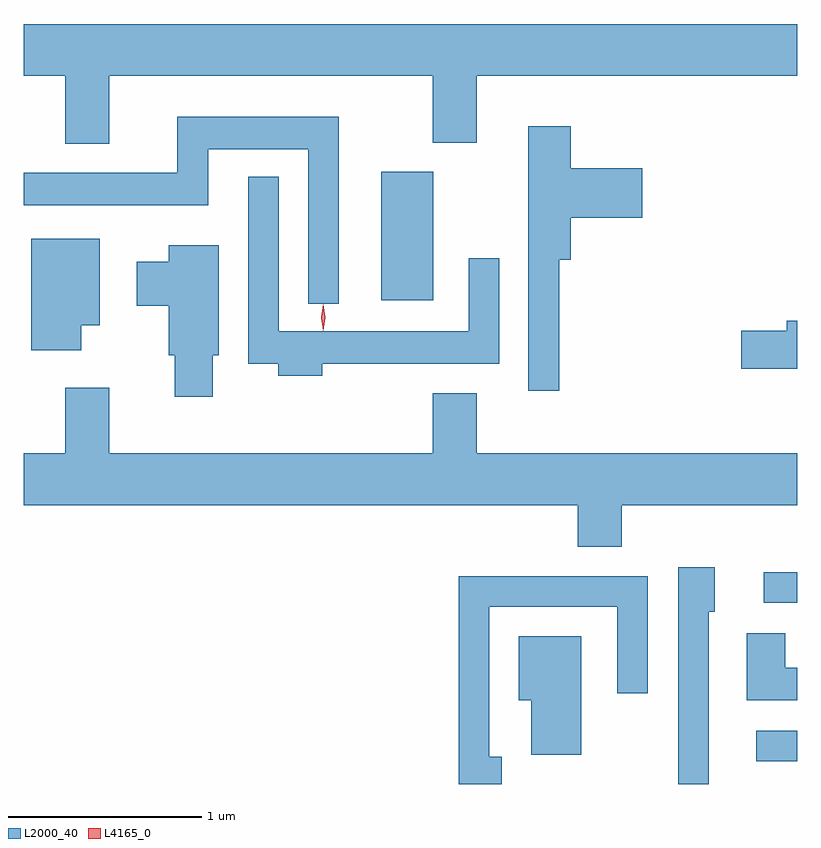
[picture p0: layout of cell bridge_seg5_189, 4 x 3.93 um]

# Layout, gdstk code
import gdstk
lib = gdstk.Library(unit=1e-6, precision=1e-09)
def R(c, l, rs):  # rectangles x0, y0, x1, y1
    for r in rs: c.add(gdstk.rectangle(r[:2], r[2:], *l))
def P(c, l, *ps):  # polygons
    for p in ps: c.add(gdstk.Polygon(p, *l))
L2000_40 = (2000, 40)
L4165_0 = (4165, 0)

bridge_seg5_189 = lib.new_cell('bridge_seg5_189')
R(bridge_seg5_189, L2000_40, [(1287.603,1417.731,1287.816,1417.889), (1287.643,1418.551,1287.816,1418.709), (1285.666,1420.116,1285.934,1420.779)])
P(bridge_seg5_189, L2000_40, [(1284.259,1421.276),(1285.931,1421.276),(1285.931,1420.931),(1286.159,1420.931),(1286.159,1421.276),(1287.816,1421.276),(1287.816,1421.544),(1283.816,1421.544),(1283.816,1421.276),(1284.031,1421.276),(1284.031,1420.926),(1284.259,1420.926)],
  [(1285.444,1421.064),(1284.611,1421.064),(1284.611,1420.774),(1283.816,1420.774),(1283.816,1420.606),(1284.769,1420.606),(1284.769,1420.896),(1285.286,1420.896),(1285.286,1420.098),(1285.444,1420.098)],
  [(1286.584,1420.326),(1286.644,1420.326),(1286.644,1420.541),(1287.014,1420.541),(1287.014,1420.799),(1286.644,1420.799),(1286.644,1421.014),(1286.426,1421.014),(1286.426,1419.648),(1286.584,1419.648)],
  [(1285.359,1419.786),(1286.274,1419.786),(1286.274,1420.333),(1286.116,1420.333),(1286.116,1419.954),(1285.134,1419.954),(1285.134,1420.753),(1284.976,1420.753),(1284.976,1419.786),(1285.131,1419.786),(1285.131,1419.726),(1285.359,1419.726)],
  [(1284.114,1419.986),(1284.209,1419.986),(1284.209,1420.434),(1283.856,1420.434),(1283.856,1419.856),(1284.114,1419.856)],
  [(1284.794,1419.831),(1284.824,1419.831),(1284.824,1420.399),(1284.566,1420.399),(1284.566,1420.314),(1284.401,1420.314),(1284.401,1420.086),(1284.566,1420.086),(1284.566,1419.831),(1284.596,1419.831),(1284.596,1419.616),(1284.794,1419.616)],
  [(1287.816,1420.009),(1287.761,1420.009),(1287.761,1419.959),(1287.526,1419.959),(1287.526,1419.761),(1287.816,1419.761)],
  [(1286.909,1419.056),(1287.816,1419.056),(1287.816,1419.324),(1286.159,1419.324),(1286.159,1419.634),(1285.931,1419.634),(1285.931,1419.324),(1284.259,1419.324),(1284.259,1419.664),(1284.031,1419.664),(1284.031,1419.324),(1283.816,1419.324),(1283.816,1419.056),(1286.681,1419.056),(1286.681,1418.841),(1286.909,1418.841)],
  [(1287.359,1418.506),(1287.389,1418.506),(1287.389,1418.734),(1287.201,1418.734),(1287.201,1417.614),(1287.359,1417.614)],
  [(1286.289,1417.754),(1286.224,1417.754),(1286.224,1418.531),(1286.886,1418.531),(1286.886,1418.083),(1287.044,1418.083),(1287.044,1418.689),(1286.066,1418.689),(1286.066,1417.614),(1286.289,1417.614)],
  [(1287.816,1418.214),(1287.754,1418.214),(1287.754,1418.394),(1287.556,1418.394),(1287.556,1418.046),(1287.816,1418.046)],
  [(1286.699,1418.379),(1286.376,1418.379),(1286.376,1418.046),(1286.441,1418.046),(1286.441,1417.766),(1286.699,1417.766)])
P(bridge_seg5_189, L4165_0, [(1285.365,1419.959),(1285.364,1419.96),(1285.355,1420.026),(1285.364,1420.092),(1285.365,1420.093),(1285.366,1420.092),(1285.375,1420.026),(1285.366,1419.96)],
  [(1285.365,1419.957),(1285.365,1419.957),(1285.355,1420.027),(1285.365,1420.096),(1285.365,1420.096),(1285.366,1420.096),(1285.375,1420.027),(1285.366,1419.957)])

lib.write_gds('bridge_seg5_189.gds')
